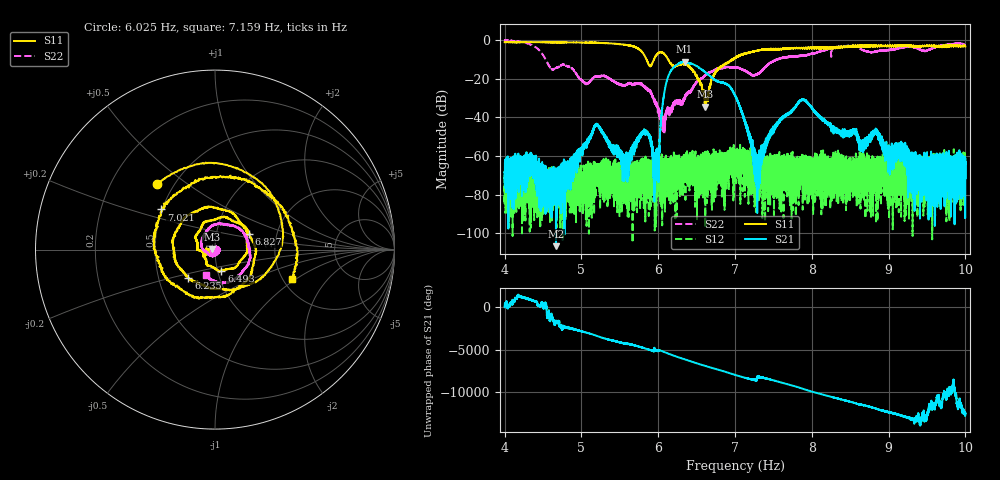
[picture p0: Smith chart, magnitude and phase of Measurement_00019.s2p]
!Created with skrf (http://scikit-rf.org).
# Hz S RI R 50.0
!freq ReS11 ImS11 ReS21 ImS21 ReS12 ImS12 ReS22 ImS22
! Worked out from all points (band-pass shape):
!   14001 points, 4 Hz to 10 Hz, reference 50 ohm
!   highest |S21| = -11.22 dB at 6.344 Hz (marker M1); lowest = -106.8 dB at 4.669 Hz (marker M2)
!   |S21| within 3 dB of the highest: 6.199648 Hz to 6.20009 Hz (442.8 uHz wide, 0.00714 % of centre); 6.2 Hz to 6.531 Hz (330.9 mHz wide, 5.2 % of centre)
!   lowest |S11| = -34.5 dB at 6.612 Hz (marker M3), VSWR 1.04, Z = 48.2 + j0.308 ohm
!   |S11| at or under -10 dB: 5.847 Hz to 5.944 Hz (96.82 mHz wide, 1.64 % of centre); 6.128 Hz to 6.964 Hz (835.7 mHz wide, 12.8 % of centre); 6.963652 Hz to 6.966388 Hz (2.736 mHz wide, 0.0393 % of centre)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
!   |S22| runs from -48.7 to -0.2 dB; largest |S21 - S12| = 0.28
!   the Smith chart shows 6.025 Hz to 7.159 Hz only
!   S11 on the Smith chart (normalised r, x): 6.025 Hz: 0.41, +0.39; 6.235 Hz: 0.71, -0.23; 6.493 Hz: 1.04, -0.26; 6.827 Hz: 1.43, +0.26; 7.021 Hz: 0.50, +0.26; 7.159 Hz: 2.25, -0.92
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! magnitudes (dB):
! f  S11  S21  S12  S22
! 4 Hz  -1.1  -68.2  -74.6  -0.2
! 4.669 Hz  -1.1  -106.8  -70.6  -14.4
! 5 Hz  -1.3  -57.7  -73.3  -20.8
! 5.2 Hz  -1.4  -43.6  -69.2  -19.0
! 5.58 Hz  -2.5  -62.2  -68.7  -23.0
! 5.814 Hz  -7.5  -47.6  -67.0  -23.8
! 6 Hz  -6.7  -65.1  -73.7  -36.0
! 6.025 Hz  -6.3  -47.5  -68.6  -40.7
! 6.102 Hz  -8.2  -22.7  -60.6  -36.8
! 6.235 Hz  -13.3  -13.1  -66.6  -32.1
! 6.344 Hz  -12.4  -11.2  -61.2  -30.3
! 6.493 Hz  -18.0  -13.3  -63.8  -22.2
! 6.612 Hz  -34.5  -16.6  -69.4  -18.3
! 6.827 Hz  -13.7  -21.9  -65.2  -14.5
! 7 Hz  -9.3  -28.8  -59.0  -14.1
! 7.021 Hz  -8.6  -30.2  -57.0  -14.1
! 7.159 Hz  -6.8  -45.3  -64.6  -16.5
! 7.292 Hz  -5.4  -65.2  -71.0  -17.5
! 7.595 Hz  -4.6  -41.3  -67.3  -9.3
! 8 Hz  -4.2  -35.1  -73.0  -6.9
! 9 Hz  -3.1  -55.8  -69.5  -5.0
! 10 Hz  -3.3  -64.0  -61.3  -3.0
